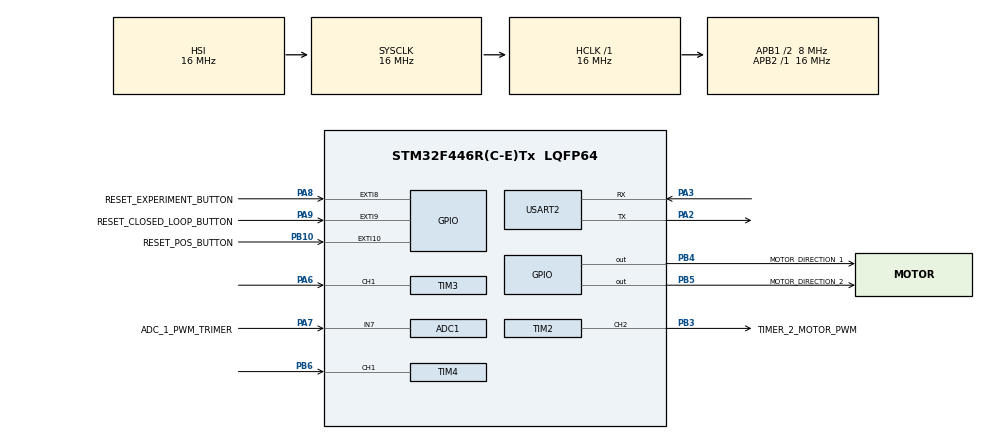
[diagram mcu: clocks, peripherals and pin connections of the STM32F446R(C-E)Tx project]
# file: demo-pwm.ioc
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ADC1.Channel-0\#ChannelRegularConversion=ADC_CHANNEL_7
ADC1.ClockPrescaler=ADC_CLOCK_SYNC_PCLK_DIV4
ADC1.ContinuousConvMode=DISABLE
ADC1.EOCSelection=ADC_EOC_SINGLE_CONV
ADC1.NbrOfConversion=1
ADC1.NbrOfConversionFlag=1
ADC1.Rank-0\#ChannelRegularConversion=1
ADC1.SamplingTime-0\#ChannelRegularConversion=ADC_SAMPLETIME_3CYCLES
ADC1.ScanConvMode=DISABLE
ADC1.master=1
Mcu.Family=STM32F4
Mcu.Name=STM32F446R(C-E)Tx
Mcu.Package=LQFP64
NVIC.ADC_IRQn=true\:1\:1\:true\:false\:true\:true\:true\:true
NVIC.EXTI15_10_IRQn=true\:0\:0\:false\:false\:true\:true\:true\:true
NVIC.EXTI9_5_IRQn=true\:0\:0\:true\:false\:true\:true\:true\:true
NVIC.PriorityGroup=NVIC_PRIORITYGROUP_2
NVIC.TIM2_IRQn=true\:0\:0\:true\:false\:true\:true\:true\:true
NVIC.TIM3_IRQn=true\:0\:0\:true\:false\:true\:true\:true\:true
NVIC.TIM4_IRQn=true\:0\:0\:true\:false\:true\:true\:true\:true
NVIC.TIM5_IRQn=true\:1\:0\:true\:false\:true\:true\:true\:true
PA2.Mode=Asynchronous
PA2.Signal=USART2_TX
PA3.Mode=Asynchronous
PA3.Signal=USART2_RX
PA6.Signal=S_TIM3_CH1
PA7.GPIO_Label=ADC_1_PWM_TRIMER
PA7.Signal=ADCx_IN7
PA8.GPIO_Label=RESET_EXPERIMENT_BUTTON
PA8.GPIO_ModeDefaultEXTI=GPIO_MODE_IT_FALLING
PA8.Signal=GPXTI8
PA9.GPIO_Label=RESET_CLOSED_LOOP_BUTTON
PA9.Signal=GPXTI9
PB10.GPIO_Label=RESET_POS_BUTTON
PB10.Signal=GPXTI10
PB3.GPIO_Label=TIMER_2_MOTOR_PWM
PB3.Signal=S_TIM2_CH2
PB4.GPIO_Label=MOTOR_DIRECTION_1
PB4.Signal=GPIO_Output
PB5.GPIO_Label=MOTOR_DIRECTION_2
PB5.Signal=GPIO_Output
PB6.Signal=S_TIM4_CH1
PH0-OSC_IN.Mode=HSE-External-Oscillator
PH0-OSC_IN.Signal=RCC_OSC_IN
PH1-OSC_OUT.Mode=HSE-External-Oscillator
PH1-OSC_OUT.Signal=RCC_OSC_OUT
ProjectManager.HeapSize=0x200
ProjectManager.StackSize=0x400
ProjectManager.TargetToolchain=STM32CubeIDE
RCC.AHBFreq_Value=16000000
RCC.APB1CLKDivider=RCC_HCLK_DIV2
RCC.APB1Freq_Value=8000000
RCC.APB1TimFreq_Value=16000000
RCC.APB2Freq_Value=16000000
RCC.APB2TimFreq_Value=16000000
RCC.CortexFreq_Value=16000000
RCC.HCLKFreq_Value=16000000
RCC.PLLM=8
RCC.PLLN=72
RCC.SYSCLKFreq_VALUE=16000000
RCC.USBFreq_Value=72000000
RCC.VCOOutputFreq_Value=144000000
SH.ADCx_IN7.0=ADC1_IN7,IN7
SH.S_TIM2_CH2.0=TIM2_CH2,PWM Generation2 CH2
SH.S_TIM3_CH1.0=TIM3_CH1,Input_Capture1_from_TI1
SH.S_TIM4_CH1.0=TIM4_CH1,Input_Capture1_from_TI1
TIM2.Channel-PWM\ Generation2\ CH2=TIM_CHANNEL_2
TIM2.OCFastMode_PWM-PWM\ Generation2\ CH2=TIM_OCFAST_ENABLE
TIM2.Period=100
TIM2.Prescaler=160
TIM2.Pulse-PWM\ Generation2\ CH2=50
TIM3.AutoReloadPreload=TIM_AUTORELOAD_PRELOAD_ENABLE
TIM3.Channel-Input_Capture1_from_TI1=TIM_CHANNEL_1
TIM3.ICPolarity_CH1=TIM_INPUTCHANNELPOLARITY_BOTHEDGE
TIM3.Prescaler=160
TIM4.AutoReloadPreload=TIM_AUTORELOAD_PRELOAD_ENABLE
TIM4.Channel-Input_Capture1_from_TI1=TIM_CHANNEL_1
TIM4.ICFilter_CH1=4
TIM4.ICPolarity_CH1=TIM_INPUTCHANNELPOLARITY_BOTHEDGE
TIM4.Prescaler=160
TIM5.AutoReloadPreload=TIM_AUTORELOAD_PRELOAD_ENABLE
TIM5.Period=1000
TIM5.Prescaler=160
USART2.VirtualMode=VM_ASYNC
VP_TIM2_VS_ClockSourceINT.Mode=Internal
VP_TIM3_VS_ClockSourceINT.Mode=Internal
VP_TIM4_VS_ClockSourceINT.Mode=Internal
VP_TIM5_VS_ClockSourceINT.Mode=Internal
board=custom

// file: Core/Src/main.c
/* USER CODE BEGIN Header */
/**
  ******************************************************************************
  * @file           : main.c
  * @brief          : Main program body
  ******************************************************************************
  * @attention
  *
  * Copyright (c) 2023 STMicroelectronics.
  * All rights reserved.
  *
  * This software is licensed under terms that can be found in the LICENSE file
  * in the root directory of this software component.
  * If no LICENSE file comes with this software, it is provided AS-IS.
  *
  ******************************************************************************
  */
/* USER CODE END Header */
#include "main.h"

/* USER CODE BEGIN Includes */
#include<stdio.h>
#include<string.h>
/* USER CODE END Includes */

ADC_HandleTypeDef hadc1;

TIM_HandleTypeDef htim2;
TIM_HandleTypeDef htim3;
TIM_HandleTypeDef htim4;
TIM_HandleTypeDef htim5;

UART_HandleTypeDef huart2;

/* USER CODE BEGIN PV */

// TRIMMER INPUT VARIABLES
uint16_t 	pot_value = 0;
int16_t 	pwm_stride = 0;

// POSITON CONTROL VARIABLES
uint8_t		actual_direction = FORWARD_DIR;

// HAL SPEED MEASUREMENT VARIABLES
enum HalState 	hal1_state = IDLE;
uint32_t 		hal1_T1 = 0;
uint32_t 		hal1_T2 = 0;
uint16_t 		hal1_ticks = 0;
uint16_t 		hal1_TIM3_OVC = 0;
int32_t 		hal1_freq = 0;
uint16_t		hal1_level = 0;

enum HalState 	hal2_state = IDLE;
uint32_t 		hal2_T1 = 0;
uint32_t 		hal2_T2 = 0;
uint16_t 		hal2_ticks = 0;
uint16_t 		hal2_TIM4_OVC = 0;
int32_t 		hal2_freq = 0;
uint16_t		hal2_level = 0;

// HAL POSITION MEASUREMENT VARIABLES
int32_t 	hal1_abs_pos = 0;
int32_t 	hal1_abs_pos_of = 0;
int32_t 	hal1_abs_pos_prev = 0;

int32_t 	hal2_abs_pos = 0;
int32_t 	hal2_abs_pos_of = 0;
int32_t 	hal2_abs_pos_prev = 0;

// CONTROL SYSTEM VARIABLES
enum AlgorithmStage stage = MANUAL_MODE;

// IDENTIFICATION VARIABLES
uint32_t identification_step = 0;
int16_t		indentification_speed_sp[2048] = {
		  40, 40, 40, 40, 40, 40, 40, 40, 40, 40, 40, 40, 40, 40, 40, 40, 40, 40, 40, 40, 40, 40, 40, 40, 40, 40, 40, 40, 40, 40, 40, 40, 40, 40, 40, 40, 40, 40, 40, 40, 40, 40, 40, 40, 40, 40, 40, 40, 40, 40, 40, 40, 40, 40, 40, 40, 40, 40, 40, 40, 40, 40, 40, 40, 40, 40, 40, 40, 40, 40, 40, 40, 40, 40, 40, 40, 40, 40, 40, 40, 40, 40, 40, 40, 40, 40, 40, 40, 40, 40, 40, 40, 40, 40, 40, 40, 40, 40, 40, 40, 40, 40, 40, 40, 40, 40, 40, 40, 40, 40, 40, 40, 40, 40, 40, 40, 40, 40, 40, 40, 40, 40, 40, 40, 40, 40, 40, 40, 40, 40, 40, 40, 40, 40, 40, 40, 40, 40, 40, 40, 40, 40, 40, 40, 40, 40, 40, 40, 40, 40, 40, 40, 40, 40, 40, 40, 40, 40, 40, 40, 40, 40, 40, 40, 40, 40, 40, 40, 40, 40, 40, 40, 40, 40, 40, 40, 40, 40, 40, 40, 40, 40, 40, 40, 40, 40, 40, 40, 40, 40, 40, 40, 40, 40, 40, 40, 40, 40, 40, 40,
		  0, 0, 0, 0, 0, 0, 0, 0, 0, 0, 0, 0, 0, 0, 0, 0, 0, 0, 0, 0, 0, 0, 0, 0, 0, 0, 0, 0, 0, 0, 0, 0, 0, 0, 0, 0, 0, 0, 0, 0, 0, 0, 0, 0, 0, 0, 0, 0, 0, 0, 0, 0, 0, 0, 0, 0, 0, 0, 0, 0, 0, 0, 0, 0, 0, 0, 0, 0, 0, 0, 0, 0, 0, 0, 0, 0, 0, 0, 0, 0, 0, 0, 0, 0, 0, 0, 0, 0, 0, 0, 0, 0, 0, 0, 0, 0, 0, 0, 0, 0, 0, 0, 0, 0, 0, 0, 0, 0, 0, 0, 0, 0, 0, 0, 0, 0, 0, 0, 0, 0, 0, 0, 0, 0, 0, 0, 0, 0, 0, 0, 0, 0, 0, 0, 0, 0, 0, 0, 0, 0, 0, 0, 0, 0, 0, 0, 0, 0, 0, 0, 0, 0, 0, 0, 0, 0, 0, 0, 0, 0, 0, 0, 0, 0, 0, 0, 0, 0, 0, 0, 0, 0, 0, 0, 0, 0, 0, 0, 0, 0, 0, 0, 0, 0, 0, 0, 0, 0, 0, 0, 0, 0, 0, 0, 0, 0, 0, 0, 0, 0,
		  30, 30, 30, 30, 30, 30, 30, 30, 30, 30, 30, 30, 30, 30, 30, 30, 30, 30, 30, 30, 30, 30, 30, 30, 30, 30, 30, 30, 30, 30, 30, 30, 30, 30, 30, 30, 30, 30, 30, 30, 30, 30, 30, 30, 30, 30, 30, 30, 30, 30, 30, 30, 30, 30, 30, 30, 30, 30, 30, 30, 30, 30, 30, 30, 30, 30, 30, 30, 30, 30, 30, 30, 30, 30, 30, 30, 30, 30, 30, 30, 30, 30, 30, 30, 30, 30, 30, 30, 30, 30, 30, 30, 30, 30, 30, 30, 30, 30, 30, 30, 30, 30, 30, 30, 30, 30, 30, 30, 30, 30, 30, 30, 30, 30, 30, 30, 30, 30, 30, 30, 30, 30, 30, 30, 30, 30, 30, 30, 30, 30, 30, 30, 30, 30, 30, 30, 30, 30, 30, 30, 30, 30, 30, 30, 30, 30, 30, 30, 30, 30, 30, 30, 30, 30, 30, 30, 30, 30, 30, 30, 30, 30, 30, 30, 30, 30, 30, 30, 30, 30, 30, 30, 30, 30, 30, 30, 30, 30, 30, 30, 30, 30, 30, 30, 30, 30, 30, 30, 30, 30, 30, 30, 30, 30, 30, 30, 30, 30, 30, 30,
		  95, 95, 95, 95, 95, 95, 95, 95, 95, 95, 95, 95, 95, 95, 95, 95, 95, 95, 95, 95, 95, 95, 95, 95, 95, 95, 95, 95, 95, 95, 95, 95, 95, 95, 95, 95, 95, 95, 95, 95, 95, 95, 95, 95, 95, 95, 95, 95, 95, 95, 95, 95, 95, 95, 95, 95, 95, 95, 95, 95, 95, 95, 95, 95, 95, 95, 95, 95, 95, 95, 95, 95, 95, 95, 95, 95, 95, 95, 95, 95, 95, 95, 95, 95, 95, 95, 95, 95, 95, 95, 95, 95, 95, 95, 95, 95, 95, 95, 95, 95, 95, 95, 95, 95, 95, 95, 95, 95, 95, 95, 95, 95, 95, 95, 95, 95, 95, 95, 95, 95, 95, 95, 95, 95, 95, 95, 95, 95, 95, 95, 95, 95, 95, 95, 95, 95, 95, 95, 95, 95, 95, 95, 95, 95, 95, 95, 95, 95, 95, 95, 95, 95, 95, 95, 95, 95, 95, 95, 95, 95, 95, 95, 95, 95, 95, 95, 95, 95, 95, 95, 95, 95, 95, 95, 95, 95, 95, 95, 95, 95, 95, 95, 95, 95, 95, 95, 95, 95, 95, 95, 95, 95, 95, 95, 95, 95, 95, 95, 95, 95,
		  40, 40, 40, 40, 40, 40, 40, 40, 40, 40, 40, 40, 40, 40, 40, 40, 40, 40, 40, 40, 40, 40, 40, 40, 40, 40, 40, 40, 40, 40, 40, 40, 40, 40, 40, 40, 40, 40, 40, 40, 40, 40, 40, 40, 40, 40, 40, 40, 40, 40, 40, 40, 40, 40, 40, 40, 40, 40, 40, 40, 40, 40, 40, 40, 40, 40, 40, 40, 40, 40, 40, 40, 40, 40, 40, 40, 40, 40, 40, 40, 40, 40, 40, 40, 40, 40, 40, 40, 40, 40, 40, 40, 40, 40, 40, 40, 40, 40, 40, 40, 40, 40, 40, 40, 40, 40, 40, 40, 40, 40, 40, 40, 40, 40, 40, 40, 40, 40, 40, 40, 40, 40, 40, 40, 40, 40, 40, 40, 40, 40, 40, 40, 40, 40, 40, 40, 40, 40, 40, 40, 40, 40, 40, 40, 40, 40, 40, 40, 40, 40, 40, 40, 40, 40, 40, 40, 40, 40, 40, 40, 40, 40, 40, 40, 40, 40, 40, 40, 40, 40, 40, 40, 40, 40, 40, 40, 40, 40, 40, 40, 40, 40, 40, 40, 40, 40, 40, 40, 40, 40, 40, 40, 40, 40, 40, 40, 40, 40, 40, 40,
		 -30, -30, -30, -30, -30, -30, -30, -30, -30, -30, -30, -30, -30, -30, -30, -30, -30, -30, -30, -30, -30, -30, -30, -30, -30, -30, -30, -30, -30, -30, -30, -30, -30, -30, -30, -30, -30, -30, -30, -30, -30, -30, -30, -30, -30, -30, -30, -30, -30, -30, -30, -30, -30, -30, -30, -30, -30, -30, -30, -30, -30, -30, -30, -30, -30, -30, -30, -30, -30, -30, -30, -30, -30, -30, -30, -30, -30, -30, -30, -30, -30, -30, -30, -30, -30, -30, -30, -30, -30, -30, -30, -30, -30, -30, -30, -30, -30, -30, -30, -30, -30, -30, -30, -30, -30, -30, -30, -30, -30, -30, -30, -30, -30, -30, -30, -30, -30, -30, -30, -30, -30, -30, -30, -30, -30, -30, -30, -30, -30, -30, -30, -30, -30, -30, -30, -30, -30, -30, -30, -30, -30, -30, -30, -30, -30, -30, -30, -30, -30, -30, -30, -30, -30, -30, -30, -30, -30, -30, -30, -30, -30, -30, -30, -30, -30, -30, -30, -30, -30, -30, -30, -30, -30, -30, -30, -30, -30, -30, -30, -30, -30, -30, -30, -30, -30, -30, -30, -30, -30, -30, -30, -30, -30, -30, -30, -30, -30, -30, -30, -30,
		 -80, -80, -80, -80, -80, -80, -80, -80, -80, -80, -80, -80, -80, -80, -80, -80, -80, -80, -80, -80, -80, -80, -80, -80, -80, -80, -80, -80, -80, -80, -80, -80, -80, -80, -80, -80, -80, -80, -80, -80, -80, -80, -80, -80, -80, -80, -80, -80, -80, -80, -80, -80, -80, -80, -80, -80, -80, -80, -80, -80, -80, -80, -80, -80, -80, -80, -80, -80, -80, -80, -80, -80, -80, -80, -80, -80, -80, -80, -80, -80, -80, -80, -80, -80, -80, -80, -80, -80, -80, -80, -80, -80, -80, -80, -80, -80, -80, -80, -80, -80, -80, -80, -80, -80, -80, -80, -80, -80, -80, -80, -80, -80, -80, -80, -80, -80, -80, -80, -80, -80, -80, -80, -80, -80, -80, -80, -80, -80, -80, -80, -80, -80, -80, -80, -80, -80, -80, -80, -80, -80, -80, -80, -80, -80, -80, -80, -80, -80, -80, -80, -80, -80, -80, -80, -80, -80, -80, -80, -80, -80, -80, -80, -80, -80, -80, -80, -80, -80, -80, -80, -80, -80, -80, -80, -80, -80, -80, -80, -80, -80, -80, -80, -80, -80, -80, -80, -80, -80, -80, -80, -80, -80, -80, -80, -80, -80, -80, -80, -80, -80,
		 -50, -50, -50, -50, -50, -50, -50, -50, -50, -50, -50, -50, -50, -50, -50, -50, -50, -50, -50, -50, -50, -50, -50, -50, -50, -50, -50, -50, -50, -50, -50, -50, -50, -50, -50, -50, -50, -50, -50, -50, -50, -50, -50, -50, -50, -50, -50, -50, -50, -50, -50, -50, -50, -50, -50, -50, -50, -50, -50, -50, -50, -50, -50, -50, -50, -50, -50, -50, -50, -50, -50, -50, -50, -50, -50, -50, -50, -50, -50, -50, -50, -50, -50, -50, -50, -50, -50, -50, -50, -50, -50, -50, -50, -50, -50, -50, -50, -50, -50, -50, -50, -50, -50, -50, -50, -50, -50, -50, -50, -50, -50, -50, -50, -50, -50, -50, -50, -50, -50, -50, -50, -50, -50, -50, -50, -50, -50, -50, -50, -50, -50, -50, -50, -50, -50, -50, -50, -50, -50, -50, -50, -50, -50, -50, -50, -50, -50, -50, -50, -50, -50, -50, -50, -50, -50, -50, -50, -50, -50, -50, -50, -50, -50, -50, -50, -50, -50, -50, -50, -50, -50, -50, -50, -50, -50, -50, -50, -50, -50, -50, -50, -50, -50, -50, -50, -50, -50, -50, -50, -50, -50, -50, -50, -50, -50, -50, -50, -50, -50, -50,
		 -70, -70, -70, -70, -70, -70, -70, -70, -70, -70, -70, -70, -70, -70, -70, -70, -70, -70, -70, -70, -70, -70, -70, -70, -70, -70, -70, -70, -70, -70, -70, -70, -70, -70, -70, -70, -70, -70, -70, -70, -70, -70, -70, -70, -70, -70, -70, -70, -70, -70, -70, -70, -70, -70, -70, -70, -70, -70, -70, -70, -70, -70, -70, -70, -70, -70, -70, -70, -70, -70, -70, -70, -70, -70, -70, -70, -70, -70, -70, -70, -70, -70, -70, -70, -70, -70, -70, -70, -70, -70, -70, -70, -70, -70, -70, -70, -70, -70, -70, -70, -70, -70, -70, -70, -70, -70, -70, -70, -70, -70, -70, -70, -70, -70, -70, -70, -70, -70, -70, -70, -70, -70, -70, -70, -70, -70, -70, -70, -70, -70, -70, -70, -70, -70, -70, -70, -70, -70, -70, -70, -70, -70, -70, -70, -70, -70, -70, -70, -70, -70, -70, -70, -70, -70, -70, -70, -70, -70, -70, -70, -70, -70, -70, -70, -70, -70, -70, -70, -70, -70, -70, -70, -70, -70, -70, -70, -70, -70, -70, -70, -70, -70, -70, -70, -70, -70, -70, -70, -70, -70, -70, -70, -70, -70, -70, -70, -70, -70, -70, -70,
		  0, 0, 0, 0, 0, 0, 0, 0, 0, 0, 0, 0, 0, 0, 0, 0, 0, 0, 0, 0, 0, 0, 0, 0, 0, 0, 0, 0, 0, 0, 0, 0, 0, 0, 0, 0, 0, 0, 0, 0, 0, 0, 0, 0, 0, 0, 0, 0, 0, 0, 0, 0, 0, 0, 0, 0, 0, 0, 0, 0, 0, 0, 0, 0, 0, 0, 0, 0, 0, 0, 0, 0, 0, 0, 0, 0, 0, 0, 0, 0, 0, 0, 0, 0, 0, 0, 0, 0, 0, 0, 0, 0, 0, 0, 0, 0, 0, 0, 0, 0, 0, 0, 0, 0, 0, 0, 0, 0, 0, 0, 0, 0, 0, 0, 0, 0, 0, 0, 0, 0, 0, 0, 0, 0, 0, 0, 0, 0, 0, 0, 0, 0, 0, 0, 0, 0, 0, 0, 0, 0, 0, 0, 0, 0, 0, 0, 0, 0, 0, 0, 0, 0, 0, 0, 0, 0, 0, 0, 0, 0, 0, 0, 0, 0, 0, 0, 0, 0, 0, 0, 0, 0, 0, 0, 0, 0, 0, 0, 0, 0, 0, 0, 0, 0, 0, 0, 0, 0, 0, 0, 0, 0, 0, 0, 0, 0, 0, 0, 0, 0,
		 //		 -99, -99, -99, -99, -99, -99, -99, -99, -99, -99, -99, -99, -99, -99, -99, -99, -99, -99, -99, -99, -99, -99, -99, -99, -99, -99, -99, -99, -99, -99, -99, -99, -99, -99, -99, -99, -99, -99, -99, -99, -99, -99, -99, -99, -99, -99, -99, -99, -99, -99, -99, -99, -99, -99, -99, -99, -99, -99, -99, -99, -99, -99, -99, -99, -99, -99, -99, -99, -99, -99, -99, -99, -99, -99, -99, -99, -99, -99, -99, -99, -99, -99, -99, -99, -99, -99, -99, -99, -99, -99, -99, -99, -99, -99, -99, -99, -99, -99, -99, -99, -99, -99, -99, -99, -99, -99, -99, -99, -99, -99, -99, -99, -99, -99, -99, -99, -99, -99, -99, -99, -99, -99, -99, -99, -99, -99, -99, -99, -99, -99, -99, -99, -99, -99, -99, -99, -99, -99, -99, -99, -99, -99, -99, -99, -99, -99, -99, -99, -99, -99, -99, -99, -99, -99, -99, -99, -99, -99, -99, -99, -99, -99, -99, -99, -99, -99, -99, -99, -99, -99, -99, -99, -99, -99, -99, -99, -99, -99, -99, -99, -99, -99, -99, -99, -99, -99, -99, -99, -99, -99, -99, -99, -99, -99, -99, -99, -99, -99, -99, -99,
//		  30, 30, 30, 30, 30, 30, 30, 30, 30, 30, 30, 30, 30, 30, 30, 30, 30, 30, 30, 30, 30, 30, 30, 30, 30, 30, 30, 30, 30, 30, 30, 30, 30, 30, 30, 30, 30, 30, 30, 30, 30, 30, 30, 30, 30, 30, 30, 30, 30, 30, 30, 30, 30, 30, 30, 30, 30, 30, 30, 30, 30, 30, 30, 30, 30, 30, 30, 30, 30, 30, 30, 30, 30, 30, 30, 30, 30, 30, 30, 30, 30, 30, 30, 30, 30, 30, 30, 30, 30, 30, 30, 30, 30, 30, 30, 30, 30, 30, 30, 30, 30, 30, 30, 30, 30, 30, 30, 30, 30, 30, 30, 30, 30, 30, 30, 30, 30, 30, 30, 30, 30, 30, 30, 30, 30, 30, 30, 30, 30, 30, 30, 30, 30, 30, 30, 30, 30, 30, 30, 30, 30, 30, 30, 30, 30, 30, 30, 30, 30, 30, 30, 30, 30, 30, 30, 30, 30, 30, 30, 30, 30, 30, 30, 30, 30, 30, 30, 30, 30, 30, 30, 30, 30, 30, 30, 30, 30, 30, 30, 30, 30, 30, 30, 30, 30, 30, 30, 30, 30, 30, 30, 30, 30, 30, 30, 30, 30, 30, 30, 30
//		  70, 70, 70, 70, 70, 70, 70, 70, 70, 70, 70, 70, 70, 70, 70, 70, 70, 70, 70, 70, 70, 70, 70, 70, 70, 70, 70, 70, 70, 70, 70, 70, 70, 70, 70, 70, 70, 70, 70, 70, 70, 70, 70, 70, 70, 70, 70, 70, 70, 70, 70, 70, 70, 70, 70, 70, 70, 70, 70, 70, 70, 70, 70, 70, 70, 70, 70, 70, 70, 70, 70, 70, 70, 70, 70, 70, 70, 70, 70, 70, 70, 70, 70, 70, 70, 70, 70, 70, 70, 70, 70, 70, 70, 70, 70, 70, 70, 70, 70, 70, 70, 70, 70, 70, 70, 70, 70, 70, 70, 70, 70, 70, 70, 70, 70, 70, 70, 70, 70, 70, 70, 70, 70, 70, 70, 70, 70, 70, 70, 70, 70, 70, 70, 70, 70, 70, 70, 70, 70, 70, 70, 70, 70, 70, 70, 70, 70, 70, 70, 70, 70, 70, 70, 70, 70, 70, 70, 70, 70, 70, 70, 70, 70, 70, 70, 70, 70, 70, 70, 70, 70, 70, 70, 70, 70, 70, 70, 70, 70, 70, 70, 70, 70, 70, 70, 70, 70, 70, 70, 70, 70, 70, 70, 70, 70, 70, 70, 70, 70, 70,

};

/* USER CODE END PV */

void SystemClock_Config(void);
static void MX_GPIO_Init(void);
static void MX_TIM2_Init(void);
static void MX_ADC1_Init(void);
static void MX_TIM3_Init(void);
static void MX_USART2_UART_Init(void);
static void MX_TIM4_Init(void);
static void MX_TIM5_Init(void);
/* USER CODE BEGIN PFP */

void send_data_usart();
void check_zero_speed();
void automatic_system_loop();
void set_motor_direction(int32_t);
uint32_t get_absolute_value(int32_t);
void compute_hal_freq(int32_t*, uint16_t*, uint8_t*, uint16_t*, TIM_TypeDef*,
					  uint32_t*, uint32_t*, uint16_t*, GPIO_TypeDef*, uint16_t);

/* USER CODE END PFP */

int main(void)
{

  /* MCU Configuration--------------------------------------------------------*/

  /* Reset of all peripherals, Initializes the Flash interface and the Systick. */
  HAL_Init();

  /* Configure the system clock */
  SystemClock_Config();

  /* Initialize all configured peripherals */
  MX_GPIO_Init();
  MX_TIM2_Init();
  MX_ADC1_Init();
  MX_TIM3_Init();
  MX_USART2_UART_Init();
  MX_TIM4_Init();
  MX_TIM5_Init();
  /* USER CODE BEGIN 2 */

  // STARTING ALL PERIPHERALS
  HAL_TIM_Base_Start_IT(&htim2);	// timer for generating PWM signal
  HAL_TIM_PWM_Start(&htim2, TIM_CHANNEL_2);

  HAL_ADC_Start_IT(&hadc1);  		// ADC for scanning trimmer set value

  HAL_TIM_Base_Start_IT(&htim3);  	// timer for measuring HAL 1 frequency
  HAL_TIM_IC_Start_IT(&htim3, TIM_CHANNEL_1);

  HAL_TIM_Base_Start_IT(&htim4);   	// timer for measuring HAL 2 frequency
  HAL_TIM_IC_Start_IT(&htim4, TIM_CHANNEL_1);

  HAL_TIM_Base_Start_IT(&htim5); 	// timer for send data over USART

  /* USER CODE END 2 */

  /* Infinite loop */
  /* USER CODE BEGIN WHILE */

  // SETTING INITIAL STATE
  TIM2->CCR2 = (htim2.Init.Period * 0) / 100u; // setting up initial PWM stride to 0%

  while (1) {
    /* USER CODE END WHILE */

    /* USER CODE BEGIN 3 */
	HAL_ADC_Start_IT(&hadc1);

  }
  /* USER CODE END 3 */
}

void SystemClock_Config(void)
{
  RCC_OscInitTypeDef RCC_OscInitStruct = {0};
  RCC_ClkInitTypeDef RCC_ClkInitStruct = {0};

  /** Configure the main internal regulator output voltage
  */
  __HAL_RCC_PWR_CLK_ENABLE();
  __HAL_PWR_VOLTAGESCALING_CONFIG(PWR_REGULATOR_VOLTAGE_SCALE3);

  /** Initializes the RCC Oscillators according to the specified parameters
  * in the RCC_OscInitTypeDef structure.
  */
  RCC_OscInitStruct.OscillatorType = RCC_OSCILLATORTYPE_HSI;
  RCC_OscInitStruct.HSIState = RCC_HSI_ON;
  RCC_OscInitStruct.HSICalibrationValue = RCC_HSICALIBRATION_DEFAULT;
  RCC_OscInitStruct.PLL.PLLState = RCC_PLL_NONE;
  if (HAL_RCC_OscConfig(&RCC_OscInitStruct) != HAL_OK)
  {
    Error_Handler();
  }

  /** Initializes the CPU, AHB and APB buses clocks
  */
  RCC_ClkInitStruct.ClockType = RCC_CLOCKTYPE_HCLK|RCC_CLOCKTYPE_SYSCLK
                              |RCC_CLOCKTYPE_PCLK1|RCC_CLOCKTYPE_PCLK2;
  RCC_ClkInitStruct.SYSCLKSource = RCC_SYSCLKSOURCE_HSI;
  RCC_ClkInitStruct.AHBCLKDivider = RCC_SYSCLK_DIV1;
  RCC_ClkInitStruct.APB1CLKDivider = RCC_HCLK_DIV2;
  RCC_ClkInitStruct.APB2CLKDivider = RCC_HCLK_DIV1;

  if (HAL_RCC_ClockConfig(&RCC_ClkInitStruct, FLASH_LATENCY_0) != HAL_OK)
  {
    Error_Handler();
  }
}

static void MX_ADC1_Init(void)
{

  ADC_ChannelConfTypeDef sConfig = {0};

  /** Configure the global features of the ADC (Clock, Resolution, Data Alignment and number of conversion)
  */
  hadc1.Instance = ADC1;
  hadc1.Init.ClockPrescaler = ADC_CLOCK_SYNC_PCLK_DIV4;
  hadc1.Init.Resolution = ADC_RESOLUTION_12B;
  hadc1.Init.ScanConvMode = DISABLE;
  hadc1.Init.ContinuousConvMode = DISABLE;
  hadc1.Init.DiscontinuousConvMode = DISABLE;
  hadc1.Init.ExternalTrigConvEdge = ADC_EXTERNALTRIGCONVEDGE_NONE;
  hadc1.Init.ExternalTrigConv = ADC_SOFTWARE_START;
  hadc1.Init.DataAlign = ADC_DATAALIGN_RIGHT;
  hadc1.Init.NbrOfConversion = 1;
  hadc1.Init.DMAContinuousRequests = DISABLE;
  hadc1.Init.EOCSelection = ADC_EOC_SINGLE_CONV;
  if (HAL_ADC_Init(&hadc1) != HAL_OK)
  {
    Error_Handler();
  }

  /** Configure for the selected ADC regular channel its corresponding rank in the sequencer and its sample time.
  */
  sConfig.Channel = ADC_CHANNEL_7;
  sConfig.Rank = 1;
  sConfig.SamplingTime = ADC_SAMPLETIME_3CYCLES;
  if (HAL_ADC_ConfigChannel(&hadc1, &sConfig) != HAL_OK)
  {
    Error_Handler();
  }

}

static void MX_TIM2_Init(void)
{

  TIM_ClockConfigTypeDef sClockSourceConfig = {0};
  TIM_MasterConfigTypeDef sMasterConfig = {0};
  TIM_OC_InitTypeDef sConfigOC = {0};

  htim2.Instance = TIM2;
  htim2.Init.Prescaler = 160;
  htim2.Init.CounterMode = TIM_COUNTERMODE_UP;
  htim2.Init.Period = 100;
  htim2.Init.ClockDivision = TIM_CLOCKDIVISION_DIV1;
  htim2.Init.AutoReloadPreload = TIM_AUTORELOAD_PRELOAD_DISABLE;
  if (HAL_TIM_Base_Init(&htim2) != HAL_OK)
  {
    Error_Handler();
  }
  sClockSourceConfig.ClockSource = TIM_CLOCKSOURCE_INTERNAL;
  if (HAL_TIM_ConfigClockSource(&htim2, &sClockSourceConfig) != HAL_OK)
  {
    Error_Handler();
  }
  if (HAL_TIM_PWM_Init(&htim2) != HAL_OK)
  {
    Error_Handler();
  }
  sMasterConfig.MasterOutputTrigger = TIM_TRGO_RESET;
  sMasterConfig.MasterSlaveMode = TIM_MASTERSLAVEMODE_DISABLE;
  if (HAL_TIMEx_MasterConfigSynchronization(&htim2, &sMasterConfig) != HAL_OK)
  {
    Error_Handler();
  }
  sConfigOC.OCMode = TIM_OCMODE_PWM1;
  sConfigOC.Pulse = 50;
  sConfigOC.OCPolarity = TIM_OCPOLARITY_HIGH;
  sConfigOC.OCFastMode = TIM_OCFAST_ENABLE;
  if (HAL_TIM_PWM_ConfigChannel(&htim2, &sConfigOC, TIM_CHANNEL_2) != HAL_OK)
  {
    Error_Handler();
  }
  HAL_TIM_MspPostInit(&htim2);

}

static void MX_TIM3_Init(void)
{

  TIM_ClockConfigTypeDef sClockSourceConfig = {0};
  TIM_MasterConfigTypeDef sMasterConfig = {0};
  TIM_IC_InitTypeDef sConfigIC = {0};

  htim3.Instance = TIM3;
  htim3.Init.Prescaler = 160;
  htim3.Init.CounterMode = TIM_COUNTERMODE_UP;
  htim3.Init.Period = 65535;
  htim3.Init.ClockDivision = TIM_CLOCKDIVISION_DIV1;
  htim3.Init.AutoReloadPreload = TIM_AUTORELOAD_PRELOAD_ENABLE;
  if (HAL_TIM_Base_Init(&htim3) != HAL_OK)
  {
    Error_Handler();
  }
  sClockSourceConfig.ClockSource = TIM_CLOCKSOURCE_INTERNAL;
  if (HAL_TIM_ConfigClockSource(&htim3, &sClockSourceConfig) != HAL_OK)
  {
    Error_Handler();
  }
  if (HAL_TIM_IC_Init(&htim3) != HAL_OK)
  {
    Error_Handler();
  }
  sMasterConfig.MasterOutputTrigger = TIM_TRGO_RESET;
  sMasterConfig.MasterSlaveMode = TIM_MASTERSLAVEMODE_DISABLE;
  if (HAL_TIMEx_MasterConfigSynchronization(&htim3, &sMasterConfig) != HAL_OK)
  {
    Error_Handler();
  }
  sConfigIC.ICPolarity = TIM_INPUTCHANNELPOLARITY_BOTHEDGE;
  sConfigIC.ICSelection = TIM_ICSELECTION_DIRECTTI;
  sConfigIC.ICPrescaler = TIM_ICPSC_DIV1;
  sConfigIC.ICFilter = 0;
  if (HAL_TIM_IC_ConfigChannel(&htim3, &sConfigIC, TIM_CHANNEL_1) != HAL_OK)
  {
    Error_Handler();
  }

}

static void MX_TIM4_Init(void)
{

  TIM_ClockConfigTypeDef sClockSourceConfig = {0};
  TIM_MasterConfigTypeDef sMasterConfig = {0};
  TIM_IC_InitTypeDef sConfigIC = {0};

  htim4.Instance = TIM4;
  htim4.Init.Prescaler = 160;
  htim4.Init.CounterMode = TIM_COUNTERMODE_UP;
  htim4.Init.Period = 65535;
  htim4.Init.ClockDivision = TIM_CLOCKDIVISION_DIV1;
  htim4.Init.AutoReloadPreload = TIM_AUTORELOAD_PRELOAD_ENABLE;
  if (HAL_TIM_Base_Init(&htim4) != HAL_OK)
  {
    Error_Handler();
  }
  sClockSourceConfig.ClockSource = TIM_CLOCKSOURCE_INTERNAL;
  if (HAL_TIM_ConfigClockSource(&htim4, &sClockSourceConfig) != HAL_OK)
  {
    Error_Handler();
  }
  if (HAL_TIM_IC_Init(&htim4) != HAL_OK)
  {
    Error_Handler();
  }
  sMasterConfig.MasterOutputTrigger = TIM_TRGO_RESET;
  sMasterConfig.MasterSlaveMode = TIM_MASTERSLAVEMODE_DISABLE;
  if (HAL_TIMEx_MasterConfigSynchronization(&htim4, &sMasterConfig) != HAL_OK)
  {
    Error_Handler();
  }
  sConfigIC.ICPolarity = TIM_INPUTCHANNELPOLARITY_BOTHEDGE;
  sConfigIC.ICSelection = TIM_ICSELECTION_DIRECTTI;
  sConfigIC.ICPrescaler = TIM_ICPSC_DIV1;
  sConfigIC.ICFilter = 4;
  if (HAL_TIM_IC_ConfigChannel(&htim4, &sConfigIC, TIM_CHANNEL_1) != HAL_OK)
  {
    Error_Handler();
  }

}

static void MX_TIM5_Init(void)
{

  TIM_ClockConfigTypeDef sClockSourceConfig = {0};
  TIM_MasterConfigTypeDef sMasterConfig = {0};

  htim5.Instance = TIM5;
  htim5.Init.Prescaler = 160;
  htim5.Init.CounterMode = TIM_COUNTERMODE_UP;
  htim5.Init.Period = 1000;
  htim5.Init.ClockDivision = TIM_CLOCKDIVISION_DIV1;
  htim5.Init.AutoReloadPreload = TIM_AUTORELOAD_PRELOAD_ENABLE;
  if (HAL_TIM_Base_Init(&htim5) != HAL_OK)
  {
    Error_Handler();
  }
  sClockSourceConfig.ClockSource = TIM_CLOCKSOURCE_INTERNAL;
  if (HAL_TIM_ConfigClockSource(&htim5, &sClockSourceConfig) != HAL_OK)
  {
    Error_Handler();
  }
  sMasterConfig.MasterOutputTrigger = TIM_TRGO_RESET;
  sMasterConfig.MasterSlaveMode = TIM_MASTERSLAVEMODE_DISABLE;
  if (HAL_TIMEx_MasterConfigSynchronization(&htim5, &sMasterConfig) != HAL_OK)
  {
    Error_Handler();
  }

}

static void MX_USART2_UART_Init(void)
{

  huart2.Instance = USART2;
  huart2.Init.BaudRate = 115200;
  huart2.Init.WordLength = UART_WORDLENGTH_8B;
  huart2.Init.StopBits = UART_STOPBITS_1;
  huart2.Init.Parity = UART_PARITY_NONE;
  huart2.Init.Mode = UART_MODE_TX_RX;
  huart2.Init.HwFlowCtl = UART_HWCONTROL_NONE;
  huart2.Init.OverSampling = UART_OVERSAMPLING_16;
  if (HAL_UART_Init(&huart2) != HAL_OK)
  {
    Error_Handler();
  }

}

static void MX_GPIO_Init(void)
{
  GPIO_InitTypeDef GPIO_InitStruct = {0};

  /* GPIO Ports Clock Enable */
  __HAL_RCC_GPIOH_CLK_ENABLE();
  __HAL_RCC_GPIOA_CLK_ENABLE();
  __HAL_RCC_GPIOB_CLK_ENABLE();

  /*Configure GPIO pin Output Level */
  HAL_GPIO_WritePin(GPIOB, MOTOR_DIRECTION_1_Pin|MOTOR_DIRECTION_2_Pin, GPIO_PIN_RESET);

  /*Configure GPIO pin : RESET_EXPERIMENT_BUTTON_Pin */
  GPIO_InitStruct.Pin = RESET_EXPERIMENT_BUTTON_Pin;
  GPIO_InitStruct.Mode = GPIO_MODE_IT_FALLING;
  GPIO_InitStruct.Pull = GPIO_NOPULL;
  HAL_GPIO_Init(RESET_EXPERIMENT_BUTTON_GPIO_Port, &GPIO_InitStruct);

  /*Configure GPIO pins : MOTOR_DIRECTION_1_Pin MOTOR_DIRECTION_2_Pin */
  GPIO_InitStruct.Pin = MOTOR_DIRECTION_1_Pin|MOTOR_DIRECTION_2_Pin;
  GPIO_InitStruct.Mode = GPIO_MODE_OUTPUT_PP;
  GPIO_InitStruct.Pull = GPIO_NOPULL;
  GPIO_InitStruct.Speed = GPIO_SPEED_FREQ_LOW;
  HAL_GPIO_Init(GPIOB, &GPIO_InitStruct);

  /* EXTI interrupt init*/
  HAL_NVIC_SetPriority(EXTI9_5_IRQn, 2, 0);
  HAL_NVIC_EnableIRQ(EXTI9_5_IRQn);

}

/* USER CODE BEGIN 4 */

// TIMER GLOBAL INTERRUPT HANDLER FOR ALL TIMERS
void HAL_TIM_PeriodElapsedCallback(TIM_HandleTypeDef* htim)
{
	switch((uint32_t)htim->Instance)
	{
	// TIM2 is generating PWM frequency
	case (uint32_t)TIM2:
		// pwm_stride needs to be in abs value as it can be in interval <-100, 100> (both directions)
		set_motor_direction(pwm_stride);
		TIM2->CCR2 = (htim2.Init.Period * get_absolute_value(pwm_stride)) / 100u;
		break;
	// TIM3 is measuring HAL 1 frequency
	case (uint32_t)TIM3:
		hal1_TIM3_OVC++;
		break;
	// TIM4 is measuring HAL 2 frequency
	case (uint32_t)TIM4:
		hal2_TIM4_OVC++;
		break;
	// TIM5 is used to generate 0,01s interrupt for system simulation
	case (uint32_t)TIM5:

	    // loop for all automatic tasks as identification, pole-placement and closed loop system
		automatic_system_loop();

		// handler for USART data transfer to PC
		send_data_usart();

		// if rpm is zero, than HAL speed will be set to last non-zero number
		// this function handles it
		check_zero_speed();
		break;
	}
}

// TIMER CAPTURE INTERRUPT FOR ANALYZING HAL SENSOR SIGNALS
void HAL_TIM_IC_CaptureCallback(TIM_HandleTypeDef* htim)
{
	switch((uint32_t)htim->Instance)
	{
		case (uint32_t)TIM3: // TIM3 is measuring HAL 1 frequency
			compute_hal_freq(&hal1_freq, &hal1_ticks, &hal1_state, &hal1_level,
					TIM3, &hal1_T1, &hal1_T2, &hal1_TIM3_OVC, GPIOA, GPIO_PIN_6);
			break;
		case (uint32_t)TIM4:  // TIM4 is measuring HAL 2 frequency
			compute_hal_freq(&hal2_freq, &hal2_ticks, &hal2_state, &hal2_level,
					TIM4, &hal2_T1, &hal2_T2, &hal2_TIM4_OVC, GPIOB, GPIO_PIN_6);
			break;
	}
}

void HAL_ADC_ConvCpltCallback(ADC_HandleTypeDef* hadc)
{
	// scan input trimmer only in MANUAL MODE, otherwise do logic in automatic_system_loop()
	if (stage == MANUAL_MODE)
	{
		pot_value = HAL_ADC_GetValue(&hadc1);
		pwm_stride = ( ( (PWM_MAX - PWM_MIN) * (pot_value - POT_MIN) ) / (POT_MAX - POT_MIN)) + PWM_MIN;
		if (pwm_stride > PWM_MAX) pwm_stride = PWM_MAX;
		if (pwm_stride < PWM_MIN) pwm_stride = PWM_MIN;
	}
}

void HAL_GPIO_EXTI_Callback(uint16_t GPIO_Pin)
{
  if(GPIO_Pin == RESET_EXPERIMENT_BUTTON_Pin) {
	  stage = NON_IDENTIFIED;
	  identification_step = 0;
  } else {
      __NOP();
  }
}

void automatic_system_loop()
{
	// IDENTIFICATION EXPERIMENT
	if (stage == NON_IDENTIFIED)
	{
		pwm_stride = indentification_speed_sp[identification_step];
		identification_step++;
		if (identification_step > (sizeof(indentification_speed_sp) / sizeof(* indentification_speed_sp)))
		{
			stage = MANUAL_MODE;
		}
	}
	// PPM REGULATOR SETTING
	else if (stage == IDENTIFIED)
	{

	}
	// REGULATION SHOWCASE
	else if (stage == READY_FOR_REGULATION)
	{

	}
}

void compute_hal_freq(int32_t* hal_freq, uint16_t* hal_ticks, uint8_t* hal_state, uint16_t* hal_level,
		TIM_TypeDef* tim, uint32_t* T1, uint32_t *T2, uint16_t* TIM_OVC, GPIO_TypeDef* port, uint16_t pin)
{
	// initial rising edge detection
	if (*hal_state == IDLE && HAL_GPIO_ReadPin(port, pin))
	{
		*T1 = tim->CCR1;
		*TIM_OVC = 0;
		*hal_state = RUNNING;
	}
	// all others rising edge detections
	else if (*hal_state == RUNNING && HAL_GPIO_ReadPin(port, pin))
	{
		*hal_level = 1;
		*T2 = tim->CCR1;
		*hal_ticks = (*T2 + (*TIM_OVC * 65536)) - *T1;
		*hal_freq = (uint32_t)(F_CLK/ (*hal_ticks));
		*T1 = tim->CCR1;
		*TIM_OVC = 0;

		// check for phase offset - only for HAL 1 sensor as there is a lot of noise
		if (hal_level == &hal1_level)
		{
			// set direction based on phase offset
			if (hal1_level != hal2_level) 	actual_direction = FORWARD_DIR;
			else							actual_direction = BACKWARD_DIR;
		}

		// based on direction, increment or decrement absolute position
		actual_direction == FORWARD_DIR ? hal1_abs_pos++ : hal1_abs_pos--;
		actual_direction == FORWARD_DIR ? hal2_abs_pos++ : hal2_abs_pos--;
		// scale HAL frequency to <-100, 100>
		if (actual_direction == BACKWARD_DIR)
		{
			*hal_freq = - (*hal_freq);
		}
	}
	// all others falling edge detections
	else if (*hal_state == RUNNING && !HAL_GPIO_ReadPin(port, pin))
	{
		*hal_level = 0;
	}
}

void set_motor_direction(int32_t stride)
{
	HAL_GPIO_WritePin(MOTOR_DIRECTION_1_GPIO_Port, MOTOR_DIRECTION_1_Pin, stride >= 0 ? GPIO_PIN_SET : GPIO_PIN_RESET);
	HAL_GPIO_WritePin(MOTOR_DIRECTION_2_GPIO_Port, MOTOR_DIRECTION_2_Pin, stride < 0  ? GPIO_PIN_SET : GPIO_PIN_RESET);
}

void check_zero_speed()
{
	// if there is derivative of 0 for absolute position by HAL 1 sensor,
	// force both HAL signals frequency to 0 - it cannot be set by computation
	if (hal1_abs_pos_prev == hal1_abs_pos)
	{
		hal1_freq = 0; hal2_freq = 0;
	}

	hal1_abs_pos_prev = hal1_abs_pos;
	hal2_abs_pos_prev = hal2_abs_pos;
}

void send_data_usart()
{
	USART_Data data = { pwm_stride, hal1_freq, hal1_abs_pos };
	char buffer[sizeof(data)];
	memcpy(buffer, &data, sizeof(data));
	HAL_UART_Transmit(&huart2, (uint8_t*)"S", sizeof("S"), 100);
	HAL_UART_Transmit(&huart2, (uint8_t *)buffer, sizeof(data), 100);
	HAL_UART_Transmit(&huart2, (uint8_t*)"Z", sizeof("Z"), 100);
}

uint32_t get_absolute_value(int32_t value)
{
	uint32_t temp = value >> 31;     // make a mask of the sign bit
	value ^= temp;                   // toggle the bits if value is negative
	value += temp & 1;               // add one if value was negative
	return value;
}

/* USER CODE END 4 */

void Error_Handler(void)
{
  __disable_irq();
  while (1)
  {
  }
}
